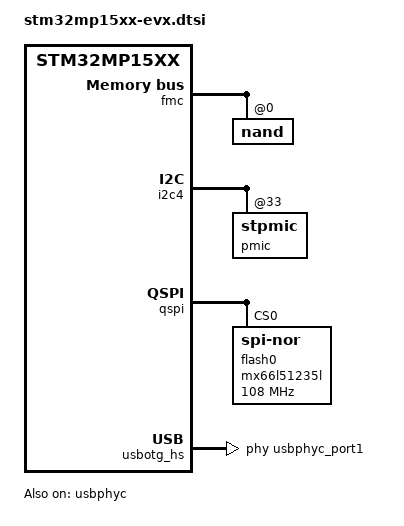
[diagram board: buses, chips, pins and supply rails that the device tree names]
// SPDX-License-Identifier: (GPL-2.0+ OR BSD-3-Clause)
/*
 * Copyright (C) STMicroelectronics 2017 - All Rights Reserved
 * Author: Ludovic Barre <ludovic.barre@st.com> for STMicroelectronics.
 */

&fmc {
	pinctrl-names = "default";
	pinctrl-0 = <&fmc_pins_a>;
	status = "okay";
	#address-cells = <1>;
	#size-cells = <0>;

	nand@0 {
		reg = <0>;
		nand-on-flash-bbt;
		#address-cells = <1>;
		#size-cells = <1>;
	};
};

&i2c4 {
	pmic: stpmic@33 {
		regulators {
			v1v8: ldo6 {
				regulator-enable-ramp-delay = <300000>;
			};
		};
	};
};

&qspi {
	pinctrl-names = "default";
	pinctrl-0 = <&qspi_clk_pins_a &qspi_bk1_pins_a &qspi_bk2_pins_a>;
	reg = <0x58003000 0x1000>, <0x70000000 0x4000000>;
	#address-cells = <1>;
	#size-cells = <0>;
	status = "okay";

	flash0: mx66l51235l@0 {
		compatible = "jedec,spi-nor";
		reg = <0>;
		spi-rx-bus-width = <4>;
		spi-max-frequency = <108000000>;
		#address-cells = <1>;
		#size-cells = <1>;
	};
};

&timers12 {
	status = "disabled";
};

&usart3 {
	pinctrl-names = "default";
	pinctrl-0 = <&usart3_pins_a>;
	uart-has-rtscts;
	status = "disabled";
};

&usbotg_hs {
	pinctrl-0 = <&usbotg_hs_pins_a>;
	pinctrl-names = "default";
	phys = <&usbphyc_port1 0>;
	phy-names = "usb2-phy";
	status = "okay";
};

&usbphyc {
	status = "okay";
};
